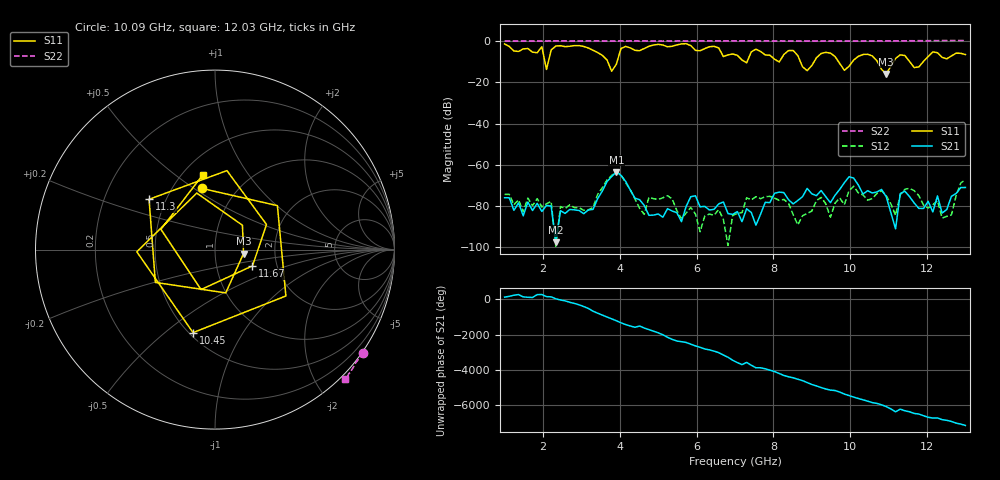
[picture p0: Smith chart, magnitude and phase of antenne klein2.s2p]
#  HZ  S  RI  R  50.00
! Rohde & Schwarz Vector Network Analyzer
! Rohde-Schwarz,ZNLE18-2Port,1323001270101281,1.61.1.0-22.05.1.79
! Created: UTC 6/27/2023, 12:04:15 PM
! freq[Hz]  re:S11  im:S11  re:S21  im:S21  re:S12  im:S12  re:S22  im:S22
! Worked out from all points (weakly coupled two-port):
!   100 points, 1 GHz to 13 GHz, reference 50 ohm
!   highest |S21| = -63.38 dB at 3.909 GHz (marker M1); lowest = -97.4 dB at 2.333 GHz (marker M2)
!   lowest |S11| = -15.9 dB at 10.94 GHz (marker M3), VSWR 1.38, Z = 68.8 - j3.13 ohm
!   |S11| at or under -10 dB: 8.703 GHz to 9.06 GHz (357.2 MHz wide, 4.02 % of centre); 9.696 GHz to 10.06 GHz (362.1 MHz wide, 3.67 % of centre); 10.71 GHz to 11.13 GHz (421.3 MHz wide, 3.86 % of centre) (the widest 3 of 8)
!   |S22| runs from -0.1 to 0.3 dB; largest |S21 - S12| = 0.00032
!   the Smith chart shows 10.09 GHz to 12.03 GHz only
!   S11 on the Smith chart (normalised r, x): 10.09 GHz: 0.70, +0.54; 10.45 GHz: 0.52, -0.63; 11.3 GHz: 0.40, +0.29; 11.67 GHz: 1.50, -0.29; 12.03 GHz: 0.63, +0.63
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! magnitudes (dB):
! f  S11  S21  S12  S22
! 1 GHz  -1.4  -75.9  -74.3  0.0
! 1.97 GHz  -2.8  -82.6  -80.4  0.0
! 2.091 GHz  -13.8  -79.6  -78.8  0.0
! 2.333 GHz  -2.4  -97.4  -99.4  0.0
! 3.061 GHz  -2.6  -83.6  -82.0  0.0
! 3.909 GHz  -11.3  -63.4  -63.3  0.0
! 4.03 GHz  -3.6  -65.1  -64.8  0.1
! 4.515 GHz  -4.7  -76.9  -81.1  0.0
! 5 GHz  -1.6  -83.8  -76.7  0.0
! 7.061 GHz  -6.9  -82.6  -83.5  0.0
! 9 GHz  -11.9  -74.0  -82.4  0.0
! 9.485 GHz  -5.9  -78.3  -85.3  0.0
! 9.848 GHz  -14.2  -68.6  -79.3  0.0
! 10.09 GHz  -9.2  -66.4  -70.4  0.0
! 10.45 GHz  -6.4  -72.5  -77.1  0.0
! 10.94 GHz  -15.9  -75.5  -75.0  0.0
! 11.06 GHz  -12.1  -83.2  -79.0  0.1
! 11.3 GHz  -6.7  -73.9  -74.5  0.1
! 11.67 GHz  -12.9  -78.5  -72.5  0.1
! 12.03 GHz  -7.5  -77.6  -80.9  0.2
! 12.64 GHz  -7.2  -75.2  -84.2  0.2
! 13 GHz  -6.5  -70.9  -67.1  0.3
